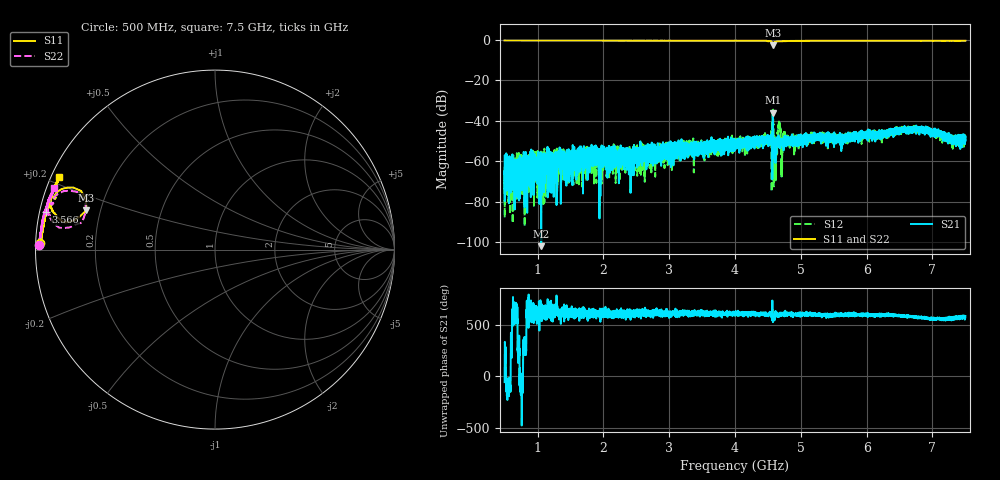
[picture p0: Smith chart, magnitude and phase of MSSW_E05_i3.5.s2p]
!Keysight Technologies,M9374A,MY55442783,A.12.55.05
!Date: Thursday, May 20, 2021 12:00:26
!Correction: S11(Full 2 Port(1,2))
!S21(Full 2 Port(1,2))
!S12(Full 2 Port(1,2))
!S22(Full 2 Port(1,2))
!S2P File: Measurements: S11, S21, S12, S22:
# Hz S  RI  R 50
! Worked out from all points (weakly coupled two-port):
!   7001 points, 500 MHz to 7.5 GHz, reference 50 ohm
!   highest |S21| = -35.99 dB at 4.574 GHz (marker M1); lowest = -101.9 dB at 1.056 GHz (marker M2)
!   lowest |S11| = -2.5 dB at 4.576 GHz (marker M3), VSWR 6.97, Z = 7.33 + j7.31 ohm
!   |S11| at or under -10 dB: nowhere
!   |S22| runs from -2.6 to -0.2 dB; largest |S21 - S12| = 0.019
!   S11 on the Smith chart (normalised r, x): 500 MHz: 0.01, +0.02; 3.566 GHz: 0.02, +0.11; 7.5 GHz: 0.02, +0.22
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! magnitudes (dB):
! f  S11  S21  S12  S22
! 500 MHz  -0.2  -73.6  -62.6  -0.2
! 545 MHz  -0.2  -68.5  -70.1  -0.2
! 687 MHz  -0.3  -60.4  -78.5  -0.2
! 984 MHz  -0.3  -60.2  -61.7  -0.2
! 1.056 GHz  -0.3  -101.9  -57.1  -0.2
! 1.176 GHz  -0.3  -57.0  -57.6  -0.2
! 1.667 GHz  -0.3  -56.3  -63.6  -0.2
! 2.834 GHz  -0.3  -56.5  -55.3  -0.2
! 3.566 GHz  -0.3  -53.8  -52.2  -0.3
! 4 GHz  -0.3  -51.1  -48.7  -0.3
! 4.523 GHz  -0.5  -47.9  -52.0  -0.5
! 4.574 GHz  -2.4  -36.0  -36.7  -2.4
! 4.576 GHz  -2.5  -38.7  -34.0  -2.5
! 4.621 GHz  -0.8  -48.9  -68.3  -0.7
! 4.667 GHz  -0.6  -48.6  -41.4  -0.6
! 4.73 GHz  -0.5  -50.7  -49.1  -0.4
! 4.763 GHz  -0.5  -51.0  -46.9  -0.4
! 5.167 GHz  -0.4  -47.1  -46.6  -0.3
! 6.334 GHz  -0.4  -45.4  -46.0  -0.3
! 6.817 GHz  -0.4  -44.2  -44.1  -0.4
! 7.326 GHz  -0.4  -51.1  -51.8  -0.3
! 7.5 GHz  -0.4  -47.8  -49.1  -0.4
